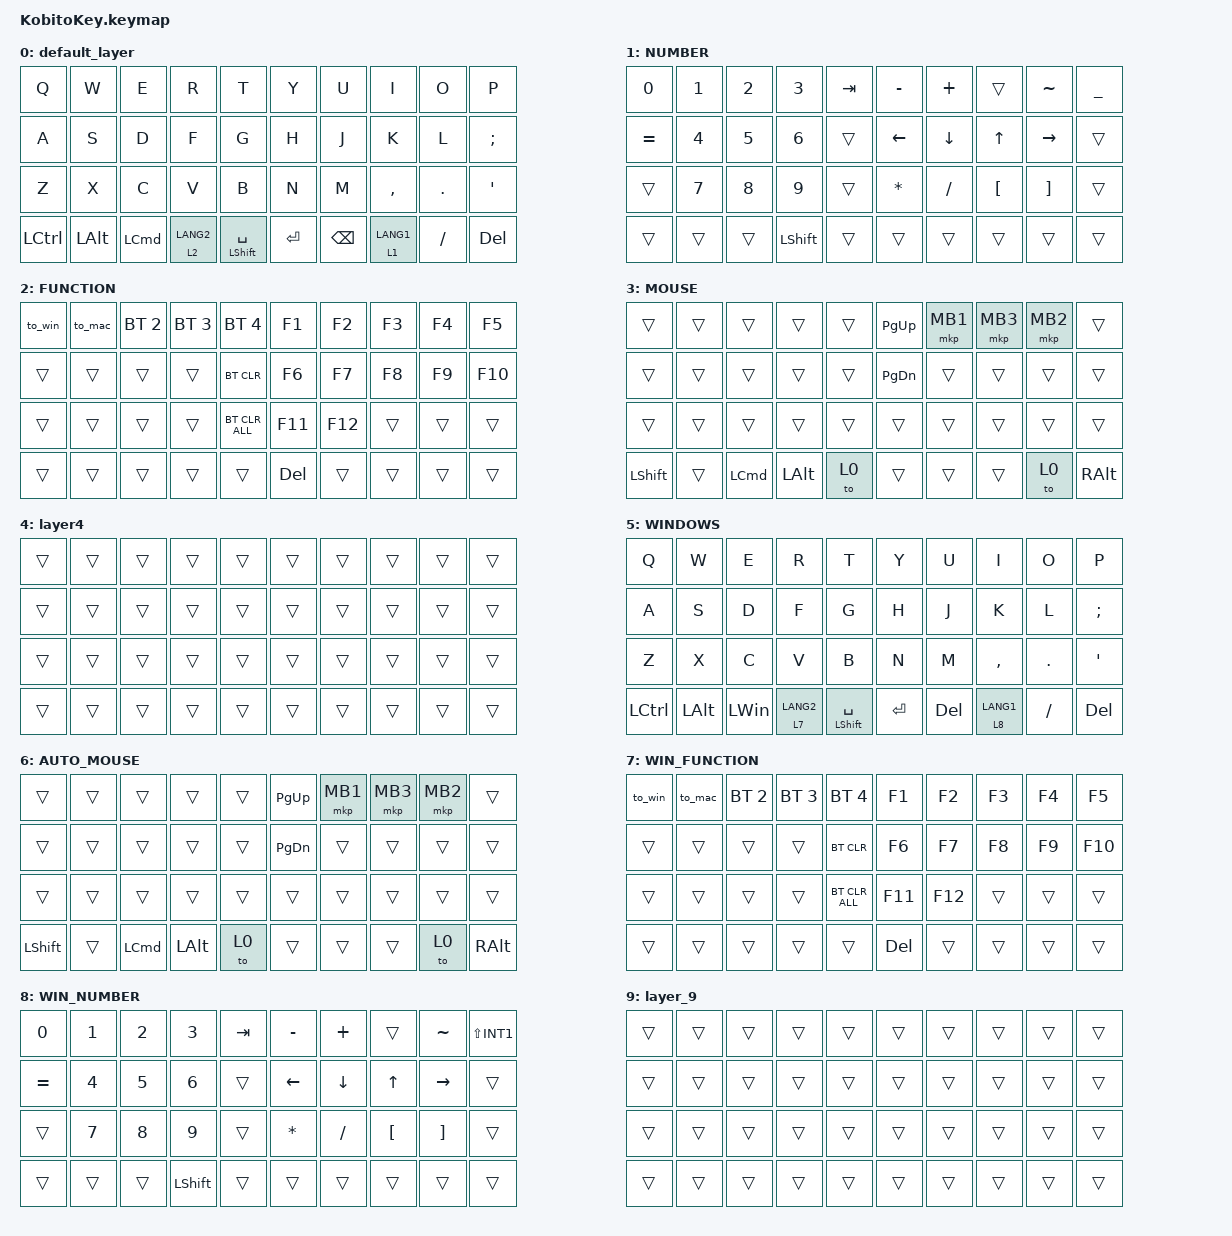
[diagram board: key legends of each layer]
#include <input/processors.dtsi>
#include <behaviors.dtsi>
#include <dt-bindings/zmk/bt.h>
#include <dt-bindings/zmk/keys.h>
#include <dt-bindings/zmk/pointing.h>

/ {
    combos {
        compatible = "zmk,combos";

        combo_esc {
            timeout-ms = <50>;
            key-positions = <0 1>;
            bindings = <&kp ESC>;
        };

        combo_tab {
            timeout-ms = <50>;
            key-positions = <11 12>;
            bindings = <&kp TAB>;
        };

        combo_shiftTab {
            bindings = <&kp LS(TAB)>;
            key-positions = <12 13>;
        };

        combo_doublequate {
            bindings = <&kp DOUBLE_QUOTES>;
            key-positions = <15 16>;
        };

        L_brance {
            bindings = <&kp LEFT_BRACE>;
            key-positions = <5 6>;
        };

        R_brance {
            bindings = <&kp RIGHT_BRACE>;
            key-positions = <6 7>;
        };

        minus {
            bindings = <&kp MINUS>;
            key-positions = <7 8>;
        };

        Equal {
            bindings = <&kp EQUAL>;
            key-positions = <8 9>;
        };

        single_quate {
            bindings = <&kp SINGLE_QUOTE>;
            key-positions = <16 17>;
        };

        pipe {
            bindings = <&kp BACKSLASH>;
            key-positions = <3 4>;
        };
    };

    // =============================================
    // マクロ: BTプロファイル切り替え + レイヤー切り替えを同時に実行
    // to_win → プロファイル1（Windows）+ layer5へ
    // to_mac → プロファイル0（Mac）    + layer0へ
    // =============================================

    macros {
        to_win: to_win {
            compatible = "zmk,behavior-macro";
            #binding-cells = <0>;
            bindings = <&bt BT_SEL 1 &to 5>;
        };

        to_mac: to_mac {
            compatible = "zmk,behavior-macro";
            #binding-cells = <0>;
            bindings = <&bt BT_SEL 0 &to 0>;
        };
    };

    keymap {
        compatible = "zmk,keymap";

        // Layer 0: Mac用 QWERTYレイヤー（デフォルト）
        // 左下3番目: &kp LCTRL（Ctrlキー）
        // 左下5番目: &kp LCMD（⌘コマンドキー）

        default_layer {
            bindings = <
&kp Q      &kp W     &kp E             &kp R        &kp T                 &kp Y      &kp U          &kp I        &kp O      &kp P
&kp A      &kp S     &kp D             &kp F        &kp G                 &kp H      &kp J          &kp K        &kp L      &kp SEMI
&kp Z      &kp X     &kp C             &kp V        &kp B                 &kp N      &kp M          &kp COMMA    &kp DOT    &kp APOS
&kp LCTRL  &kp LALT  &kp LEFT_COMMAND  &lt 2 LANG2  &mt LEFT_SHIFT SPACE  &kp ENTER  &kp BACKSPACE  &lt 1 LANG1  &kp SLASH  &kp DELETE
            >;
        };

        // Layer 1: 数字・矢印レイヤー（変更なし）

        layer1 {
            label = "NUMBER";
            bindings = <
&kp N0     &kp N1  &kp N2  &kp N3     &kp TAB  &kp MINUS  &kp PLUS   &trans    &kp TILDE  &kp UNDER
&kp EQUAL  &kp N4  &kp N5  &kp N6     &trans   &kp LEFT   &kp DOWN   &kp UP    &kp RIGHT  &trans
&trans     &kp N7  &kp N8  &kp N9     &trans   &kp ASTRK  &kp SLASH  &kp LBKT  &kp RBKT   &trans
&trans     &trans  &trans  &kp LSHFT  &trans   &trans     &trans     &trans    &trans     &trans
            >;
        };

        // Layer 2: BT・ファンクションレイヤー
        // Qキー → &to_win（Windows切り替え）
        // Wキー → &to_mac（Mac切り替え）

        layer2 {
            label = "FUNCTION";
            bindings = <
&to_win  &to_mac  &bt BT_SEL 2  &bt BT_SEL 3  &bt BT_SEL 4    &kp F1   &kp F2   &kp F3  &kp F4  &kp F5
&trans   &trans   &trans        &trans        &bt BT_CLR      &kp F6   &kp F7   &kp F8  &kp F9  &kp F10
&trans   &trans   &trans        &trans        &bt BT_CLR_ALL  &kp F11  &kp F12  &trans  &trans  &trans
&trans   &trans   &trans        &trans        &trans          &kp DEL  &trans   &trans  &trans  &trans
            >;
        };

        // Layer 3: マウスレイヤー（手動用）
        // 注意: &to 0 は常にMacレイヤー(layer0)に戻ります

        layer3 {
            label = "MOUSE";
            bindings = <
&trans     &trans  &trans    &trans    &trans  &kp PAGE_UP    &mkp MB1  &mkp MB3  &mkp MB2  &trans
&trans     &trans  &trans    &trans    &trans  &kp PAGE_DOWN  &trans    &trans    &trans    &trans
&trans     &trans  &trans    &trans    &trans  &trans         &trans    &trans    &trans    &trans
&kp LSHFT  &trans  &kp LCMD  &kp LALT  &to 0   &trans         &trans    &trans    &to 0     &kp RALT
            >;
        };

        // Layer 4: 予備（空きレイヤー）

        layer4 {
            bindings = <
&trans  &trans  &trans  &trans  &trans  &trans  &trans  &trans  &trans  &trans
&trans  &trans  &trans  &trans  &trans  &trans  &trans  &trans  &trans  &trans
&trans  &trans  &trans  &trans  &trans  &trans  &trans  &trans  &trans  &trans
&trans  &trans  &trans  &trans  &trans  &trans  &trans  &trans  &trans  &trans
            >;
        };

        // Layer 5: Windows用 QWERTYレイヤー
        // layer0との違い: 左下3番目が &kp LCMD（Command/Windowsキー）
        //                 左下5番目が &kp LCTRL（Ctrlキー）
        //                 右手Shift位置のひとつが &kp DEL（Deleteキー）

        layer5 {
            label = "WINDOWS";
            bindings = <
&kp Q      &kp W     &kp E         &kp R        &kp T                 &kp Y      &kp U       &kp I        &kp O      &kp P
&kp A      &kp S     &kp D         &kp F        &kp G                 &kp H      &kp J       &kp K        &kp L      &kp SEMI
&kp Z      &kp X     &kp C         &kp V        &kp B                 &kp N      &kp M       &kp COMMA    &kp DOT    &kp APOS
&kp LCTRL  &kp LALT  &kp LEFT_WIN  &lt 7 LANG2  &mt LEFT_SHIFT SPACE  &kp ENTER  &kp DELETE  &lt 8 LANG1  &kp SLASH  &kp DELETE
            >;
        };

        // Layer 6: オートマウスレイヤー
        // Windowsレイヤー(layer5)より上に置いて、Windows使用時も優先されるようにする

        layer6 {
            label = "AUTO_MOUSE";
            bindings = <
&trans     &trans  &trans    &trans    &trans  &kp PG_UP      &mkp MB1  &mkp MB3  &mkp MB2  &trans
&trans     &trans  &trans    &trans    &trans  &kp PAGE_DOWN  &trans    &trans    &trans    &trans
&trans     &trans  &trans    &trans    &trans  &trans         &trans    &trans    &trans    &trans
&kp LSHFT  &trans  &kp LCMD  &kp LALT  &to 0   &trans         &trans    &trans    &to 0     &kp RALT
            >;
        };

        // Layer 7: Windows用 BT・ファンクションレイヤー
        // Windowsレイヤー(layer5)より上に置いて、Windows使用時もMacへ戻れるようにする

        layer7 {
            label = "WIN_FUNCTION";
            bindings = <
&to_win  &to_mac  &bt BT_SEL 2  &bt BT_SEL 3  &bt BT_SEL 4    &kp F1   &kp F2   &kp F3  &kp F4  &kp F5
&trans   &trans   &trans        &trans        &bt BT_CLR      &kp F6   &kp F7   &kp F8  &kp F9  &kp F10
&trans   &trans   &trans        &trans        &bt BT_CLR_ALL  &kp F11  &kp F12  &trans  &trans  &trans
&trans   &trans   &trans        &trans        &trans          &kp DEL  &trans   &trans  &trans  &trans
            >;
        };

        // Layer 8: Windows用 数字・矢印レイヤー
        // Windowsレイヤー(layer5)より上に置いて、Windows使用時もLayer 1相当を使えるようにする

        layer8 {
            label = "WIN_NUMBER";
            bindings = <
&kp N0     &kp N1  &kp N2  &kp N3     &kp TAB  &kp MINUS  &kp PLUS   &trans    &kp TILDE  &kp LS(INT1)
&kp EQUAL  &kp N4  &kp N5  &kp N6     &trans   &kp LEFT   &kp DOWN   &kp UP    &kp RIGHT  &trans
&trans     &kp N7  &kp N8  &kp N9     &trans   &kp ASTRK  &kp SLASH  &kp LBKT  &kp RBKT   &trans
&trans     &trans  &trans  &kp LSHFT  &trans   &trans     &trans     &trans    &trans     &trans
            >;
        };

        layer_9 {
            bindings = <
&trans  &trans  &trans  &trans  &trans  &trans  &trans  &trans  &trans  &trans
&trans  &trans  &trans  &trans  &trans  &trans  &trans  &trans  &trans  &trans
&trans  &trans  &trans  &trans  &trans  &trans  &trans  &trans  &trans  &trans
&trans  &trans  &trans  &trans  &trans  &trans  &trans  &trans  &trans  &trans
            >;
        };
    };
};
